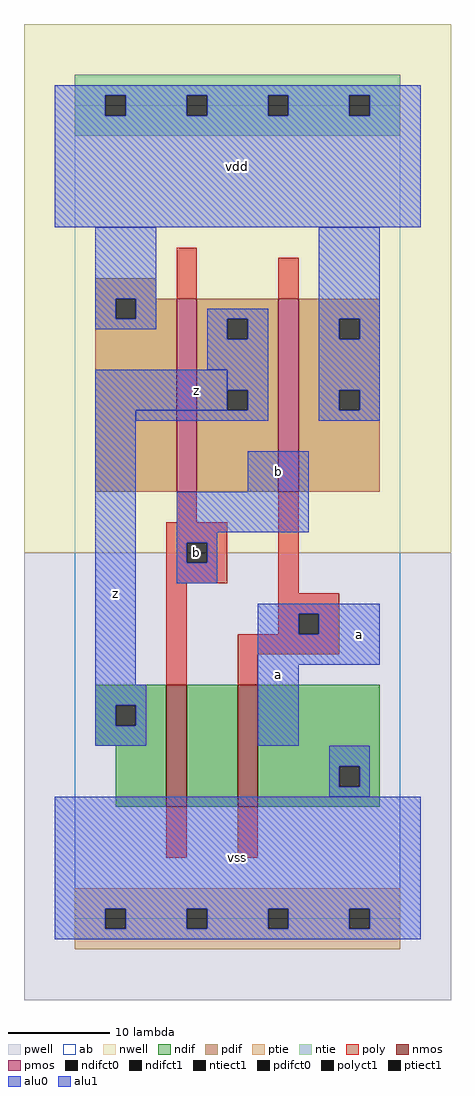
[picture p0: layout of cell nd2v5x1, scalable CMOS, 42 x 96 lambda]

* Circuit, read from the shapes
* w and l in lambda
.subckt nd2v5x1 a b vdd vss z
M1 n1 b z vss nfet w=12 l=2
M2 vss a n1 vss nfet w=12 l=2
M3 z b vdd vdd pfet w=19 l=2
M4 vdd a z vdd pfet w=19 l=2
.ends

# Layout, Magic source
magic
tech scmos
<< ab >>
rect 0 0 32 80
<< nwell >>
rect -5 36 37 88
<< pwell >>
rect -5 -8 37 36
<< poly >>
rect 10 61 12 66
rect 20 61 22 65
rect 10 39 12 42
rect 9 37 15 39
rect 9 35 11 37
rect 13 35 15 37
rect 9 33 15 35
rect 9 23 11 33
rect 20 32 22 42
rect 20 30 26 32
rect 20 28 22 30
rect 24 28 26 30
rect 16 26 26 28
rect 16 23 18 26
rect 9 6 11 11
rect 16 6 18 11
<< ndif >>
rect 2 21 9 23
rect 2 19 4 21
rect 6 19 9 21
rect 2 17 9 19
rect 4 11 9 17
rect 11 11 16 23
rect 18 15 30 23
rect 18 13 26 15
rect 28 13 30 15
rect 18 11 30 13
<< pdif >>
rect 2 61 8 63
rect 2 59 4 61
rect 6 59 10 61
rect 2 42 10 59
rect 12 59 20 61
rect 12 57 15 59
rect 17 57 20 59
rect 12 52 20 57
rect 12 50 15 52
rect 17 50 20 52
rect 12 42 20 50
rect 22 59 30 61
rect 22 57 26 59
rect 28 57 30 59
rect 22 52 30 57
rect 22 50 26 52
rect 28 50 30 52
rect 22 42 30 50
<< alu1 >>
rect -2 81 34 82
rect -2 79 3 81
rect 5 79 11 81
rect 13 79 19 81
rect 21 79 27 81
rect 29 79 34 81
rect -2 68 34 79
rect 2 50 15 54
rect 2 23 6 50
rect 17 42 23 46
rect 10 38 23 42
rect 10 37 14 38
rect 10 35 11 37
rect 13 35 14 37
rect 10 33 14 35
rect 18 30 30 31
rect 18 28 22 30
rect 24 28 30 30
rect 18 25 30 28
rect 2 21 7 23
rect 2 19 4 21
rect 6 19 7 21
rect 2 17 7 19
rect 18 17 22 25
rect -2 1 34 12
rect -2 -1 3 1
rect 5 -1 11 1
rect 13 -1 19 1
rect 21 -1 27 1
rect 29 -1 34 1
rect -2 -2 34 -1
<< ptie >>
rect 0 1 32 3
rect 0 -1 3 1
rect 5 -1 11 1
rect 13 -1 19 1
rect 21 -1 27 1
rect 29 -1 32 1
rect 0 -3 32 -1
<< ntie >>
rect 0 81 32 83
rect 0 79 3 81
rect 5 79 11 81
rect 13 79 19 81
rect 21 79 27 81
rect 29 79 32 81
rect 0 77 32 79
<< nmos >>
rect 9 11 11 23
rect 16 11 18 23
<< pmos >>
rect 10 42 12 61
rect 20 42 22 61
<< polyct1 >>
rect 11 35 13 37
rect 22 28 24 30
<< ndifct0 >>
rect 26 13 28 15
<< ndifct1 >>
rect 4 19 6 21
<< ntiect1 >>
rect 3 79 5 81
rect 11 79 13 81
rect 19 79 21 81
rect 27 79 29 81
<< ptiect1 >>
rect 3 -1 5 1
rect 11 -1 13 1
rect 19 -1 21 1
rect 27 -1 29 1
<< pdifct0 >>
rect 4 59 6 61
rect 15 57 17 59
rect 15 50 17 52
rect 26 57 28 59
rect 26 50 28 52
<< alu0 >>
rect 2 61 8 68
rect 2 59 4 61
rect 6 59 8 61
rect 2 58 8 59
rect 13 59 19 60
rect 13 57 15 59
rect 17 57 19 59
rect 13 54 19 57
rect 15 52 19 54
rect 17 50 19 52
rect 6 49 19 50
rect 24 59 30 68
rect 24 57 26 59
rect 28 57 30 59
rect 24 52 30 57
rect 24 50 26 52
rect 28 50 30 52
rect 24 49 30 50
rect 25 15 29 17
rect 25 13 26 15
rect 28 13 29 15
rect 25 12 29 13
<< labels >>
rlabel alu1 4 32 4 32 6 z
rlabel polyct1 12 36 12 36 6 b
rlabel alu1 12 52 12 52 6 z
rlabel alu1 16 6 16 6 6 vss
rlabel alu1 20 24 20 24 6 a
rlabel alu1 20 44 20 44 6 b
rlabel alu1 16 74 16 74 6 vdd
rlabel alu1 28 28 28 28 6 a
<< end >>
